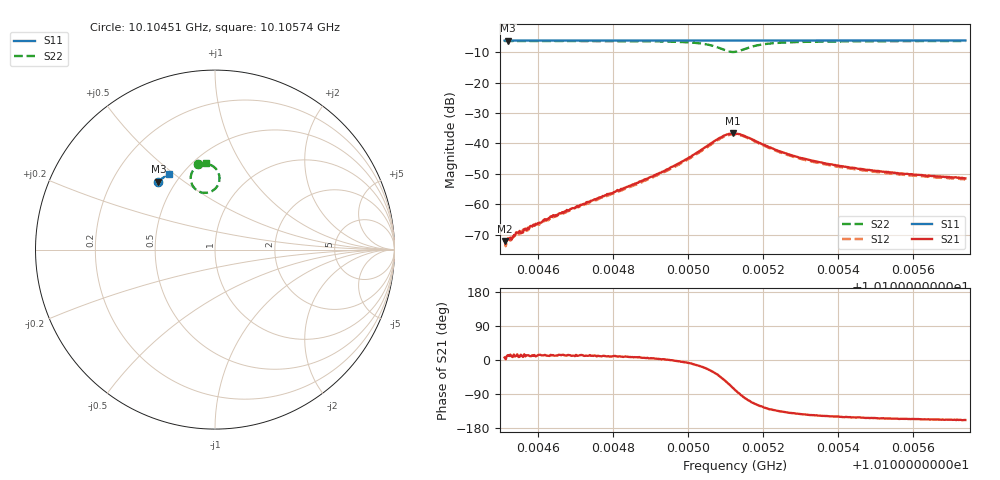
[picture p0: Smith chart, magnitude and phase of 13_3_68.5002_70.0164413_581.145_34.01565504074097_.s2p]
#  HZ  S  RI  R  50.00
! Rohde & Schwarz Vector Network Analyzer
! Rohde-Schwarz,ZNB20-2Port,1311601062101988,3.16
! Created: UTC 3/20/2024, 4:49:07 PM
! freq[Hz]  re:S11  im:S11  re:S21  im:S21  re:S12  im:S12  re:S22  im:S22
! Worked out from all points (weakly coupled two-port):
!   401 points, 10.10451 GHz to 10.10574 GHz, reference 50 ohm
!   highest |S21| = -36.69 dB at 10.10512 GHz (marker M1); lowest = -72.1 dB at 10.10451 GHz (marker M2)
!   lowest |S11| = -6.1 dB at 10.10452 GHz (marker M3), VSWR 2.94, Z = 20.2 + j20.2 ohm
!   |S11| at or under -10 dB: nowhere
!   |S22| runs from -9.9 to -6.3 dB; largest |S21 - S12| = 0.0017
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1.010451e10  -0.3164 0.3779  0.000246 2.85e-05  0.000241 6.63e-05  -0.0967 0.4755
1.0104519e10  -0.3158 0.3781  0.000267 6.13e-05  0.00024 6.16e-05  -0.0959 0.4754
1.0104528e10  -0.3155 0.3787  0.00026 4.46e-05  0.000249 6.97e-05  -0.095 0.4758
1.0104537e10  -0.315 0.379  0.000299 4.75e-05  0.000288 9.42e-05  -0.0943 0.4761
1.0104583e10  -0.3128 0.3808  0.000417 9.32e-05  0.000401 0.000136  -0.0899 0.4768
1.0104636e10  -0.3103 0.383  0.000602 0.000129  0.000537 0.000181  -0.0845 0.4777
1.0104716e10  -0.3067 0.3861  0.00095 0.000223  0.000905 0.000281  -0.0755 0.4788
1.0104863e10  -0.2999 0.392  0.00222 0.000287  0.0021 0.000427  -0.0521 0.4787
1.0104922e10  -0.2968 0.3944  0.00321 0.000159  0.00306 0.000445  -0.0375 0.4763
1.0104989e10  -0.2935 0.3968  0.00524 -0.000525  0.00502 -6.3e-05  -0.0121 0.4652
1.0105035e10  -0.2912 0.3985  0.00752 -0.00239  0.00736 -0.00158  0.0124 0.4404
1.0105069e10  -0.2894 0.3996  0.00911 -0.006  0.00924 -0.00481  0.0252 0.3976
1.0105094e10  -0.2883 0.4002  0.00838 -0.0104  0.00908 -0.00912  0.0104 0.3501
1.0105118e10  -0.2874 0.4008  0.00421 -0.014  0.00542 -0.013  -0.042 0.3173
1.0105124e10  -0.2871 0.4009  0.00276 -0.0143  0.00418 -0.0134  -0.0582 0.3163
1.0105146e10  -0.2866 0.4016  -0.00165 -0.0134  -0.000316 -0.0132  -0.1063 0.3346
1.010518e10  -0.2851 0.4031  -0.00488 -0.00975  -0.0039 -0.00984  -0.1346 0.3841
1.010525e10  -0.2818 0.406  -0.00516 -0.00497  -0.00459 -0.0052  -0.1226 0.4403
1.010533e10  -0.2779 0.4092  -0.00428 -0.00293  -0.00385 -0.0032  -0.1029 0.4617
1.0105429e10  -0.2732 0.4128  -0.00352 -0.00196  -0.00323 -0.00217  -0.0858 0.472
1.0105536e10  -0.2678 0.4166  -0.00302 -0.00146  -0.00278 -0.00162  -0.0723 0.4776
1.0105739e10  -0.2575 0.4236  -0.00248 -0.00098  -0.00227 -0.00114  -0.0525 0.4828
